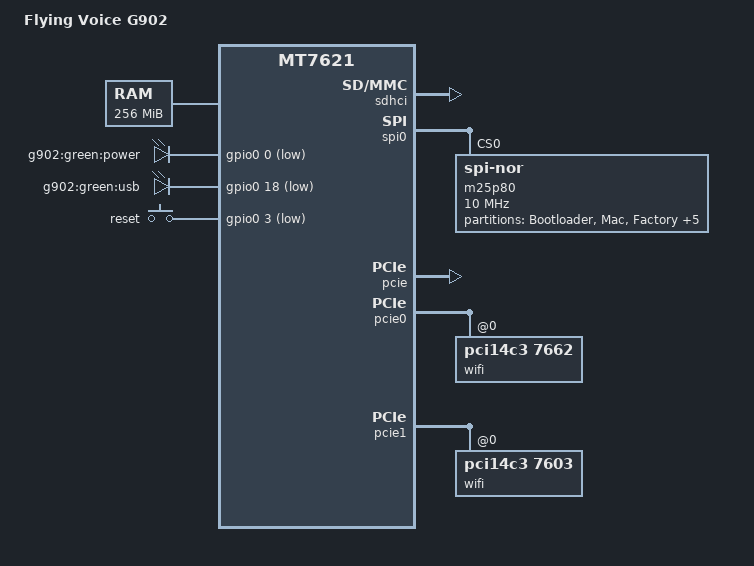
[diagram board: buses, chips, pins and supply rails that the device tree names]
/dts-v1/;

#include "mt7621.dtsi"

#include <dt-bindings/gpio/gpio.h>
#include <dt-bindings/input/input.h>

/ {
	compatible = "flyingvoice,g902", "mediatek,mt7621-soc";
	model = "Flying Voice G902";

	aliases {
		led-boot = &led_power;
		led-failsafe = &led_power;
		led-running = &led_power;
		led-upgrade = &led_power;
	};

	memory@0 {
		device_type = "memory";
		reg = <0x0 0x10000000>;
	};

	chosen {
		bootargs = "console=ttyS0,115200";
	};

	leds {
		compatible = "gpio-leds";

		led_power: power {
			label = "g902:green:power";
			gpios = <&gpio0 0 GPIO_ACTIVE_LOW>;
		};

		usb {
			label = "g902:green:usb";
			gpios = <&gpio0 18 GPIO_ACTIVE_LOW>;
		};
	};

	keys {
		compatible = "gpio-keys-polled";
		poll-interval = <20>;

		reset {
			label = "reset";
			gpios = <&gpio0 3 GPIO_ACTIVE_LOW>;
			linux,code = <KEY_RESTART>;
		};
	};
};

&sdhci {
	status = "okay";
};

&spi0 {
	status = "okay";

	m25p80@0 {
		compatible = "jedec,spi-nor";
		reg = <0>;
		spi-max-frequency = <10000000>;

		partitions {
			compatible = "fixed-partitions";
			#address-cells = <1>;
			#size-cells = <1>;

			partition@0 {
				label = "Bootloader";
				reg = <0x0 0x30000>;
				read-only;
			};

			/* u-boot will erase this after a saveenv.
			   If this is all 0xFF the Mac_bak can be
			   used to restore it. */
			partition@30000 {
				label = "Mac";
				reg = <0x30000 0x10000>;
			};

			factory: partition@40000 {
				label = "Factory";
				reg = <0x40000 0x10000>;
				read-only;
			};

			partition@50000 {
				label = "Stock_Kernel";
				reg = <0x50000 0x170000>;
			};

			partition@0x1c0000 {
				label = "Stock_RootFs";
				reg = <0x1c0000 0x630000>;
			};

			partition@7f0000 {
				compatible = "denx,uimage";
				label = "firmware";
				reg = <0x7f0000 0x7a0000>;
			};

			partition@f90000 {
				label = "Stock_Logs_Configs";
				reg = <0xf90000 0x60000>;
				read-only;
			};

			/* u-boot will erase Mac after a saveenv.
			   This will make this the only "good" env
			   Mac can be restored with this partition. */
			partition@ff0000 {
				label = "Mac_bak";
				reg = <0xff0000 0x10000>;
				read-only;
			};
		};
	};
};

&pcie {
	status = "okay";
};

&pcie0 {
	wifi@0,0 {
		compatible = "pci14c3,7662";
		reg = <0x0000 0 0 0 0>;
		mediatek,mtd-eeprom = <&factory 0x8000>;
		ieee80211-freq-limit = <5000000 6000000>;
		led {
			led-sources = <2>;
		};
	};
};

&pcie1 {
	wifi@0,0 {
		compatible = "pci14c3,7603";
		reg = <0x0000 0 0 0 0>;
		mediatek,mtd-eeprom = <&factory 0x0000>;
		ieee80211-freq-limit = <2400000 2500000>;
		led {
			led-sources = <2>;
		};
	};
};

&ethernet {
	mtd-mac-address = <&factory 0x04>;
};

&pinctrl {
	state_default: pinctrl0 {
		gpio {
			ralink,group = "wdt", "rgmii2";
			ralink,function = "gpio";
		};
	};
};
